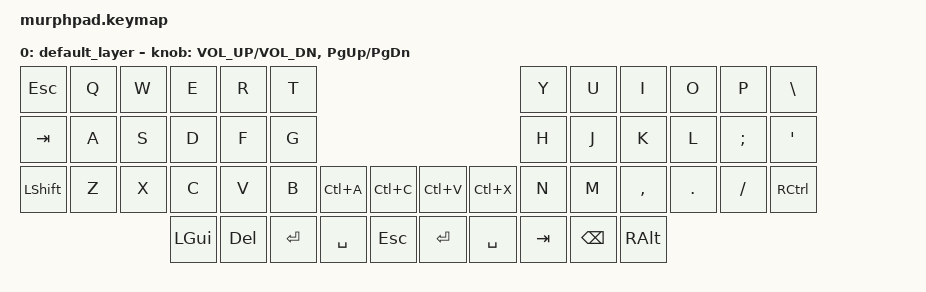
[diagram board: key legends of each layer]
/*
 * Copyright (c) 2021 The ZMK Contributors
 *
 * SPDX-License-Identifier: MIT
 */

#include <behaviors.dtsi>
#include <dt-bindings/zmk/keys.h>
#include <dt-bindings/zmk/bt.h>
#include <dt-bindings/zmk/rgb.h>


#define TIMEOUT 300

&encoder_1 {
    status = "okay";
};

&encoder_2 {
    status = "okay";
};

/ {
    combos {
        compatible = "zmk,combos";
        combo_btclr {
            timeout-ms = <TIMEOUT>;
            key-positions = <1 6>;
            bindings = <&bt BT_CLR>;
        };
        combo_reset {
            timeout-ms = <TIMEOUT>;
            key-positions = <1 3>;
            bindings = <&reset>;
        };
        combo_bootloader {
            timeout-ms = <TIMEOUT>;
            key-positions = <1 2>;
            bindings = <&bootloader>;
        };
        combo_bt_nxt {
            timeout-ms = <TIMEOUT>;
            key-positions = <1 4>;
            bindings = <&bt BT_NXT>;
        };
    };
    
    sensors {
        compatible = "zmk,keymap-sensors";
        sensors = <&encoder_1 &encoder_2>;
    };


    keymap0: keymap {
        compatible = "zmk,keymap";

        default_layer {
// --------------------------------------------------------------------------------------------------------------------------------------------------------------------
// |   ESC   |    Q    |    W    |    E    |    R    |    T    |                                          |    Y    |    U    |    I    |    O    |    P    |    \    |
// |   TAB   |    A    |    S    |    D    |    F    |    G    |                                          |    H    |    J    |    K    |    L    |    ;    |    '    |
// |  SHIFT  |    Z    |    X    |    C    |    V    |    B    | CTRL+A  | CTRL+C  |  |  CTRL+V |  CTRL+X |    N    |    M    |    ,    |    .    |    /    |  R CTRL |
//                               |   GUI   |   DEL   | RETURN  |  SPACE  | ESCAPE  |  |  RETURN |  SPACE  |   TAB   |   BSPC  |  R ALT  |
			bindings = <
    &kp ESC    &kp Q    &kp W    &kp E     &kp R     &kp T                                                 &kp Y     &kp U     &kp I     &kp O     &kp P    &kp BSLH
    &kp TAB    &kp A    &kp S    &kp D     &kp F     &kp G                                                 &kp H     &kp J     &kp K     &kp L     &kp SEMI &kp SQT
    &kp LSHIFT &kp Z    &kp X    &kp C     &kp V     &kp B      &kp LC(A) &kp LC(C)    &kp LC(V) &kp LC(X) &kp N     &kp M     &kp COMMA &kp DOT   &kp FSLH &kp RCTRL
                                 &kp LGUI  &kp DEL   &kp RET    &kp SPACE &kp ESC      &kp RET   &kp SPACE &kp TAB   &kp BSPC  &kp RALT
			>;

			sensor-bindings = <&inc_dec_kp C_VOL_UP C_VOL_DN &inc_dec_kp PG_UP PG_DN>;
                
        };
    };
};
